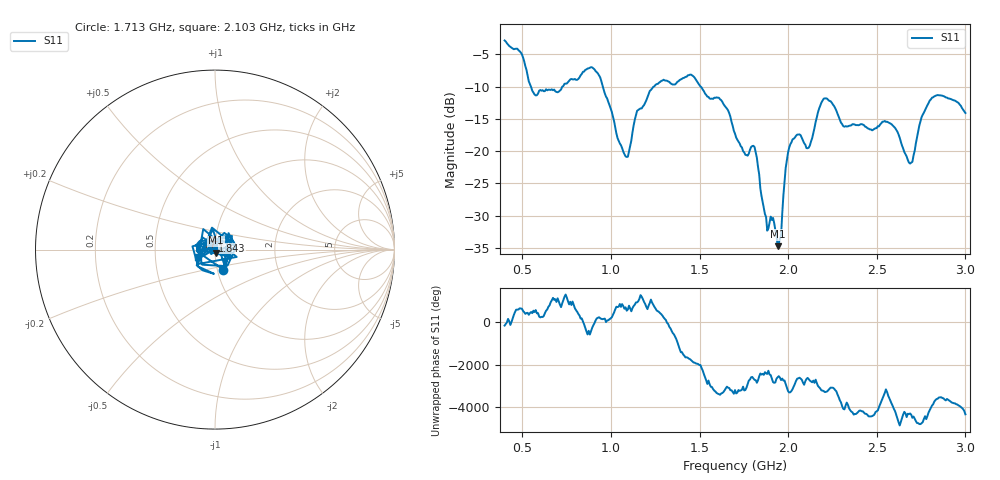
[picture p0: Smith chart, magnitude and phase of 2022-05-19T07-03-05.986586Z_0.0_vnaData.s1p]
!Created with skrf (http://scikit-rf.org).
# Hz S RI R 50.0
!freq ReS11 ImS11
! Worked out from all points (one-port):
!   401 points, 400 MHz to 3 GHz, reference 50 ohm
!   lowest |S11| = -34.7 dB at 1.94 GHz (marker M1), VSWR 1.04, Z = 50.5 - j1.76 ohm
!   |S11| at or under -10 dB: 548.7 MHz to 725 MHz (176.3 MHz wide, 27.7 % of centre); 954.2 MHz to 1.241 GHz (286.8 MHz wide, 26.1 % of centre); 1.507 GHz to end of sweep
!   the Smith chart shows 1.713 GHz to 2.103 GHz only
!   S11 on the Smith chart (normalised r, x): 1.713 GHz: 1.07, -0.25; 1.843 GHz: 0.97, +0.10; 2.103 GHz: 0.82, -0.07
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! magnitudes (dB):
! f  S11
! 400 MHz  -2.8
! 491 MHz  -4.7
! 569 MHz  -11.2
! 725 MHz  -10.0
! 907 MHz  -7.3
! 1.05 GHz  -18.8
! 1.095 GHz  -20.9
! 1.147 GHz  -13.7
! 1.238 GHz  -10.0
! 1.375 GHz  -9.2
! 1.453 GHz  -8.1
! 1.615 GHz  -12.0
! 1.7 GHz  -17.3
! 1.713 GHz  -18.2
! 1.81 GHz  -19.4
! 1.843 GHz  -25.8
! 1.875 GHz  -30.2
! 1.94 GHz  -34.7
! 1.954 GHz  -33.6
! 1.999 GHz  -20.3
! 2.025 GHz  -18.2
! 2.103 GHz  -19.5
! 2.207 GHz  -11.8
! 2.35 GHz  -16.0
! 2.571 GHz  -15.6
! 2.675 GHz  -21.4
! 2.818 GHz  -11.6
! 3 GHz  -14.1
